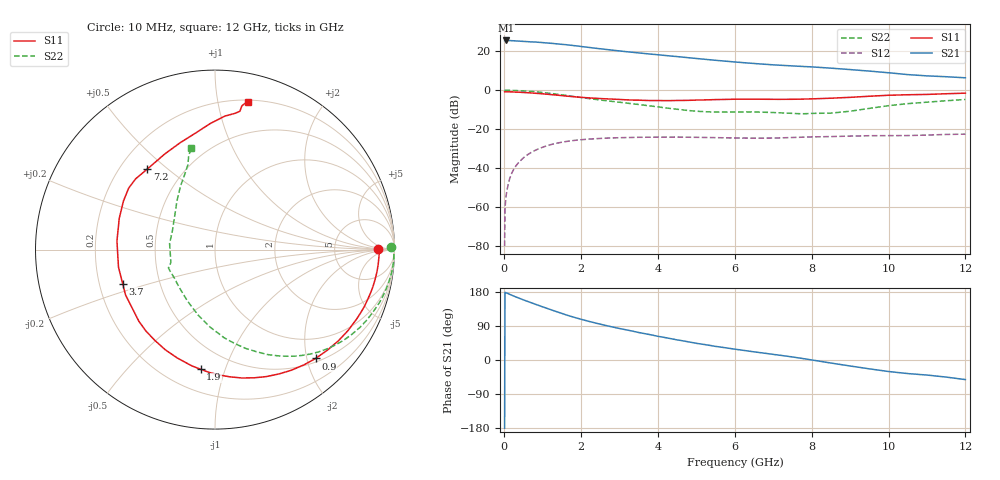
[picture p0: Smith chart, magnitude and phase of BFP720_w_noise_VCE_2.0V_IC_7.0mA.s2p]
! Infineon Technologies  Discrete & RF Semiconductors
! BFP720
! VCE =  2.0 V,  IC =  7.0 mA
! Common Emitter S-Parameters:  Aug 2012
# GHz  S  MA  R  50
!  f  S11  S21  S12  S22
! GHz  MAG  ANG  MAG  ANG  MAG  ANG  MAG  ANG
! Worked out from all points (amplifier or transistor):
!   105 points, 10 MHz to 12 GHz, reference 50 ohm
!   highest |S21| = 25.6 dB at 50 MHz (marker M1)
!   |S21| within 3 dB of that: start of sweep to 1.964 GHz
!   unconditionally stable (mu >= 1): start of sweep to 10.79 MHz; 6.156 GHz to 11.45 GHz
!   at 300 MHz: K = 0.06, MSG = 32.1 dB, |S12| = -38.9 dB
!   at 3.6 GHz: K = 0.58, MSG = 21.5 dB, |S12| = -24.1 dB
!   at 12 GHz: K = 0.84, MSG = 14.5 dB, |S12| = -22.5 dB
!   lowest NFmin = 0.44 dB at 450 MHz
!   S11 on the Smith chart (normalised r, x): 10 MHz: 21, +1; 900 MHz: 0.57, -2.17; 1.9 GHz: 0.34, -0.83; 3.7 GHz: 0.30, -0.16; 7.2 GHz: 0.31, +0.43; 12 GHz: 0.21, +1.22
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0.01  0.9089 0.2  18.81 -179.9  0.0001 109.0  0.9792 0.9
0.02  0.9149 -1.0  18.77 178.6  0.0009 79.4  0.9972 -0.6
0.05  0.9143 -2.6  18.99 177.3  0.002 83.6  0.9968 -1.7
0.25  0.904 -13.2  18.63 168.6  0.0095 82.5  0.9891 -9.0
0.45  0.8845 -23.5  18.09 160.6  0.0166 76.1  0.9687 -16.1
0.9  0.8261 -47.2  17.02 143.9  0.0317 62.6  0.8978 -31.6
1.2  0.779 -62.8  16.1 133.2  0.04 54.0  0.8343 -41.5
1.4  0.7469 -73.0  15.43 126.3  0.0445 48.7  0.788 -47.6
1.6  0.7135 -83.4  14.84 119.4  0.0483 43.8  0.7408 -53.3
1.9  0.6713 -96.9  13.68 110.3  0.0527 37.1  0.673 -61.1
2.1  0.6486 -105.1  12.94 104.8  0.0548 33.3  0.6324 -65.7
2.4  0.6229 -116.5  11.92 96.9  0.0574 28.1  0.5792 -72.4
2.8  0.5952 -130.2  10.75 87.5  0.0599 22.3  0.5196 -80.2
3.7  0.5485 -159.6  8.698 68.7  0.0624 12.3  0.4079 -97.7
4.1  0.5438 -172.7  7.975 60.8  0.0628 8.6  0.3645 -106.9
5  0.5611 162.0  6.55 44.0  0.0621 1.8  0.2907 -132.9
6.1  0.5903 143.3  5.231 27.2  0.0596 -2.2  0.2776 -155.5
7.2  0.5864 130.0  4.381 12.2  0.0602 -2.3  0.2633 -161.7
8.5  0.6261 108.1  3.697 -8.0  0.0649 -5.8  0.2592 156.4
9.5  0.7033 92.1  3.111 -23.3  0.0683 -9.6  0.3427 128.3
10.5  0.7683 81.5  2.528 -35.8  0.0689 -13.0  0.4543 111.6
12  0.8439 77.6  2.091 -51.7  0.0748 -19.0  0.5817 103.2
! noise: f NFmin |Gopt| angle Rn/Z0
0.45  0.44  0.4  3  -0.03
1.8  0.52  0.37  23  0.13
2.4  0.57  0.28  50  0.26
5.5  0.71  0.17  49  0.16
10  0.94  0.39  -86  0.2
